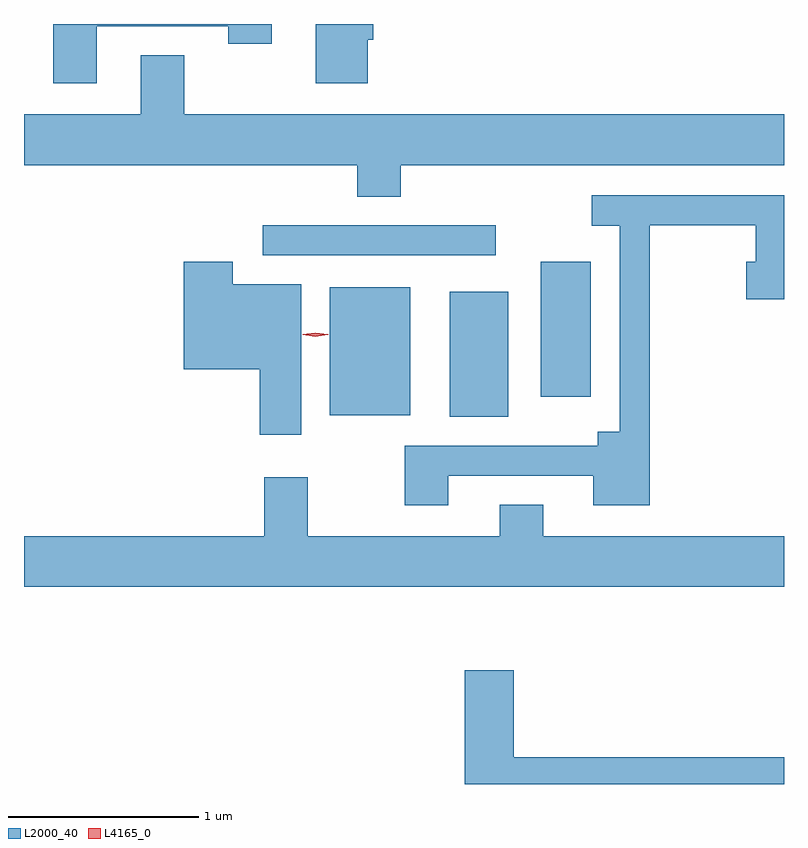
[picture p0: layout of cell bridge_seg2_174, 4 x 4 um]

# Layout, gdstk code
import gdstk
lib = gdstk.Library(unit=1e-6, precision=1e-09)
def R(c, l, rs):  # rectangles x0, y0, x1, y1
    for r in rs: c.add(gdstk.rectangle(r[:2], r[2:], *l))
def P(c, l, *ps):  # polygons
    for p in ps: c.add(gdstk.Polygon(p, *l))
L2000_40 = (2000, 40)
L4165_0 = (4165, 0)

bridge_seg2_174 = lib.new_cell('bridge_seg2_174')
R(bridge_seg2_174, L2000_40, [(838.266,991.491,838.574,992.149), (837.636,991.501,838.059,992.174), (838.746,991.596,839.009,992.309), (837.283,992.341,838.508,992.499)])
P(bridge_seg2_174, L2000_40, [(837.834,993.476),(837.864,993.476),(837.864,993.559),(837.561,993.559),(837.561,993.246),(837.834,993.246)],
  [(836.409,993.546),(837.101,993.546),(837.101,993.456),(837.329,993.456),(837.329,993.559),(836.181,993.559),(836.181,993.246),(836.409,993.246)],
  [(838.009,992.816),(840.026,992.816),(840.026,993.084),(836.869,993.084),(836.869,993.394),(836.641,993.394),(836.641,993.084),(836.026,993.084),(836.026,992.816),(837.781,992.816),(837.781,992.651),(838.009,992.651)],
  [(838.259,991.181),(839.021,991.181),(839.021,991.026),(839.319,991.026),(839.319,992.501),(839.876,992.501),(839.876,992.309),(839.826,992.309),(839.826,992.111),(840.026,992.111),(840.026,992.659),(839.013,992.659),(839.013,992.496),(839.161,992.496),(839.161,991.414),(839.046,991.414),(839.046,991.339),(838.031,991.339),(838.031,991.026),(838.259,991.026)],
  [(837.484,992.189),(837.124,992.189),(837.124,992.309),(836.866,992.309),(836.866,991.741),(837.266,991.741),(837.266,991.396),(837.484,991.396)],
  [(840.026,990.864),(838.759,990.864),(838.759,991.029),(838.531,991.029),(838.531,990.864),(837.519,990.864),(837.519,991.174),(837.291,991.174),(837.291,990.864),(836.026,990.864),(836.026,990.596),(840.026,990.596)],
  [(840.026,989.699),(838.604,989.699),(838.604,990.159),(838.346,990.159),(838.346,989.559),(840.026,989.559)])
P(bridge_seg2_174, L4165_0, [(837.56,991.914),(837.494,991.924),(837.493,991.924),(837.494,991.925),(837.56,991.934),(837.626,991.925),(837.626,991.924),(837.626,991.924)])

lib.write_gds('bridge_seg2_174.gds')
